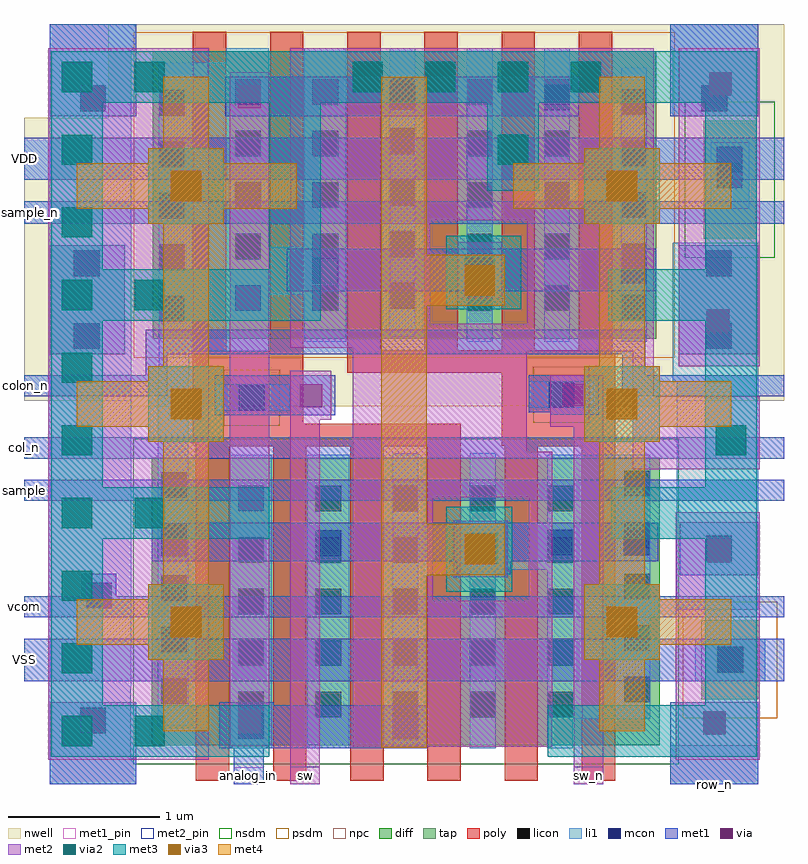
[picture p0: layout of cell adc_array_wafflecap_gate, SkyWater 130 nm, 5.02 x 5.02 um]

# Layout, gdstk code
import gdstk
lib = gdstk.Library(unit=1e-6, precision=1e-09)
def R(c, l, rs):  # rectangles x0, y0, x1, y1
    for r in rs: c.add(gdstk.rectangle(r[:2], r[2:], *l))
def A(c, l, x, y, w, h, nx, ny, dx, dy):  # array of equal rectangles
    R(c, l, [(x+i*dx, y+j*dy, x+i*dx+w, y+j*dy+h) for i in range(nx) for j in range(ny)])
nwell = (64, 20)
diff = (65, 20)
tap = (65, 44)
poly = (66, 20)
licon = (66, 44)
li1 = (67, 20)
mcon = (67, 44)
met1_pin = (68, 16)
met1 = (68, 20)
via = (68, 44)
met2_pin = (69, 16)
met2 = (69, 20)
via2 = (69, 44)
met3 = (70, 20)
via3 = (70, 44)
met4 = (71, 20)
nsdm = (93, 44)
psdm = (94, 20)
npc = (95, 20)

adc_array_wafflecap_gate = lib.new_cell('adc_array_wafflecap_gate')
R(adc_array_wafflecap_gate, nwell, [(0.705,2.495,4.295,2.53), (0,2.53,5.02,4.4), (0.555,4.4,5.02,5.02)])
R(adc_array_wafflecap_gate, diff, [(0.845,0.255,4.2,2.155), (0.85,2.94,4.175,4.84)])
R(adc_array_wafflecap_gate, tap, [(4.475,0.56,4.85,1.08), (4.49,3.6,4.835,4.38)])
A(adc_array_wafflecap_gate, poly, 1.135, 0.02, 0.22, 2.21, 6, 1, 0.51, 0)
A(adc_array_wafflecap_gate, poly, 2.135, 2.865, 0.22, 2.105, 4, 1, 0.51, 0)
R(adc_array_wafflecap_gate, poly, [(1.135,2.23,2.885,2.25), (3.175,2.23,3.905,2.235), (3.155,2.235,3.905,2.715), (1.115,2.25,2.885,2.38), (1.115,2.38,1.845,2.86), (2.135,2.715,3.905,2.845), (2.135,2.845,3.885,2.865), (1.115,2.86,1.335,4.97), (1.625,2.86,1.845,4.97)])
A(adc_array_wafflecap_gate, licon, 1.415, 0.44, 0.17, 0.17, 5, 5, 0.51, 0.34)
A(adc_array_wafflecap_gate, licon, 0.905, 0.53, 0.17, 0.17, 1, 5, 0, 0.34)
A(adc_array_wafflecap_gate, licon, 3.965, 0.54, 0.17, 0.17, 1, 5, 0, 0.34)
A(adc_array_wafflecap_gate, licon, 0.89, 3.055, 0.17, 0.17, 1, 5, 0, 0.34)
A(adc_array_wafflecap_gate, licon, 3.945, 3.06, 0.17, 0.17, 1, 5, 0, 0.34)
A(adc_array_wafflecap_gate, licon, 1.395, 3.125, 0.17, 0.17, 1, 5, 0, 0.34)
A(adc_array_wafflecap_gate, licon, 1.905, 3.125, 0.17, 0.17, 1, 5, 0, 0.34)
A(adc_array_wafflecap_gate, licon, 2.925, 3.125, 0.17, 0.17, 1, 5, 0, 0.34)
A(adc_array_wafflecap_gate, licon, 3.435, 3.125, 0.17, 0.17, 1, 5, 0, 0.34)
A(adc_array_wafflecap_gate, licon, 2.415, 3.14, 0.17, 0.17, 1, 5, 0, 0.34)
R(adc_array_wafflecap_gate, licon, [(4.58,0.735,4.75,0.905), (1.42,2.465,1.59,2.635), (3.465,2.485,3.635,2.655), (4.575,3.935,4.745,4.105)])
R(adc_array_wafflecap_gate, li1, [(0.17,0,0.74,0.17), (4.27,0,4.85,0.255), (0.17,0.17,0.705,0.645), (1.36,0.235,1.635,2.175), (1.87,0.235,2.15,2.175), (2.435,0.235,2.605,2.185), (2.945,0.235,3.115,1.415), (3.455,0.235,3.625,0.43), (0.885,0.38,1.085,2.68), (3.455,0.43,4.135,1.415), (0.17,0.645,0.71,4.85), (4.435,0.68,4.895,0.96), (4.31,1.15,4.85,2.655), (2.945,1.415,4.135,1.725), (2.945,1.725,3.115,2.185), (3.455,1.725,4.135,2.175), (1.26,2.465,1.755,2.64), (3.335,2.485,3.765,2.66), (4.285,2.655,4.85,3.575), (0.89,2.68,1.09,2.86), (0.89,2.86,1.615,3.235), (1.85,2.92,2.13,3.235), (2.925,2.92,3.095,4.86), (3.435,2.92,3.605,4.86), (3.945,2.92,4.115,4.73), (2.415,2.955,2.585,4.86), (0.89,3.235,2.13,3.545), (0.89,3.545,1.615,4.765), (1.85,3.545,2.13,4.86), (4.535,3.8,4.79,4.24), (4.285,4.41,4.85,4.85), (1.335,4.765,1.615,4.86), (0.17,4.85,0.74,5.02), (4.27,4.85,4.85,5.02)])
R(adc_array_wafflecap_gate, mcon, [(1.415,0.3,1.585,0.47), (2.435,0.3,2.605,0.47), (0.37,0.335,0.54,0.505), (4.58,0.735,4.75,0.905), (0.41,1.16,0.58,1.33), (2.945,1.47,3.115,1.64), (4.505,1.47,4.675,1.64), (0.905,1.505,1.075,1.675), (1.925,1.505,2.095,1.675), (3.455,1.51,3.625,1.68), (3.96,1.51,4.13,1.68), (1.42,2.465,1.59,2.635), (3.465,2.485,3.635,2.655), (0.33,2.875,0.5,3.045), (4.505,2.875,4.675,3.045), (1.905,3.305,2.075,3.475), (3.945,3.305,4.115,3.475), (2.925,3.31,3.095,3.48), (0.33,3.355,0.5,3.525), (4.505,3.355,4.675,3.525), (4.575,4.04,4.745,4.21), (0.37,4.445,0.54,4.615), (4.475,4.445,4.645,4.615), (3.435,4.45,3.605,4.62), (2.415,4.455,2.585,4.625)])
R(adc_array_wafflecap_gate, met1_pin, [(1.385,0,1.585,0.11)])
R(adc_array_wafflecap_gate, met1, [(0.17,0,0.74,0.54), (1.385,0,1.585,0.235), (4.27,0,4.85,0.54), (1.29,0.235,2.665,0.52), (1.29,0.52,1.65,0.54), (0,0.68,5.02,0.96), (0,1.1,5.02,1.24), (0.38,1.24,0.61,1.39), (4.33,1.38,4.85,1.73), (2.86,1.385,3.215,1.47), (0.845,1.47,4.19,1.725), (0,1.87,5.02,2.01), (0,2.15,5.02,2.29), (1.26,2.435,2.055,2.7), (3.475,2.44,3.795,2.455), (3.335,2.455,3.795,2.7), (0,2.56,0.945,2.7), (3.95,2.56,5.02,2.7), (0.805,2.7,0.945,2.84), (3.95,2.7,4.105,2.84), (0.17,2.84,0.665,3.56), (0.805,2.84,4.105,3), (4.325,2.84,4.85,3.56), (1.735,3.255,4.175,3.535), (0,3.7,5.02,3.85), (0,3.99,5.02,4.27), (0.17,4.41,0.74,5.02), (1.33,4.41,3.665,4.67), (4.27,4.41,4.85,5.02)])
R(adc_array_wafflecap_gate, via, [(4.485,0.33,4.635,0.48), (1.415,0.335,1.565,0.485), (4.515,1.465,4.665,1.615), (2.945,1.48,3.095,1.63), (1.82,2.49,1.97,2.64), (3.56,2.495,3.71,2.645), (4.51,2.985,4.66,3.135), (2.935,3.32,3.085,3.47), (1.415,4.465,1.565,4.615), (4.525,4.55,4.675,4.7)])
R(adc_array_wafflecap_gate, met2_pin, [(1.76,0,1.955,0.115), (3.63,0,3.825,0.115)])
R(adc_array_wafflecap_gate, met2, [(1.76,0,1.955,2.405), (3.63,0,3.825,2.36), (0.16,0.16,1.22,4.86), (4.305,0.16,4.86,1.795), (2.17,0.245,3.49,1.21), (1.36,0.25,1.62,4.7), (2.17,1.21,2.7,1.895), (3.335,1.21,3.49,1.895), (2.84,1.365,3.195,1.74), (2.17,1.895,3.49,2.195), (4.02,2.08,4.86,2.56), (2.17,2.195,3.32,2.86), (3.475,2.36,3.825,2.7), (1.76,2.405,2.03,2.73), (4.02,2.56,4.165,2.565), (4.02,2.565,4.16,2.86), (4.325,2.76,4.86,4.86), (2.17,2.86,4.16,2.88), (1.76,2.88,4.16,3.04), (1.76,3.04,2.685,3.725), (3.325,3.04,4.16,3.725), (2.865,3.21,3.155,3.58), (1.76,3.725,4.16,4.86)])
A(adc_array_wafflecap_gate, via2, 0.25, 0.25, 0.2, 0.2, 1, 10, 0, 0.48)
A(adc_array_wafflecap_gate, via2, 0.73, 0.25, 0.2, 0.2, 1, 4, 0, 1.44)
A(adc_array_wafflecap_gate, via2, 2.17, 4.57, 0.2, 0.2, 4, 1, 0.48, 0)
R(adc_array_wafflecap_gate, via2, [(2.93,1.455,3.13,1.655), (4.57,2.17,4.77,2.37), (2.91,3.295,3.11,3.495), (3.13,4.09,3.33,4.29)])
A(adc_array_wafflecap_gate, met3, 0.18, 0.52, 0.34, 1.1, 1, 3, 0, 1.44)
A(adc_array_wafflecap_gate, met3, 4.5, 0.52, 0.34, 1.1, 1, 3, 0, 1.44)
A(adc_array_wafflecap_gate, met3, 0.82, 0.82, 0.5, 0.5, 1, 3, 0, 1.44)
A(adc_array_wafflecap_gate, met3, 3.7, 0.82, 0.5, 0.5, 1, 3, 0, 1.44)
R(adc_array_wafflecap_gate, met3, [(0.18,0.18,1.62,0.52), (3.46,0.18,4.84,0.52), (2.79,1.27,3.225,1.83), (0.18,1.62,1.62,1.96), (3.88,1.62,4.84,1.96), (0.18,3.06,1.96,3.4), (3.86,3.06,4.84,3.4), (2.79,3.135,3.285,3.62), (1.62,3.4,1.96,4.5), (3.06,3.92,3.4,4.5), (0.18,4.5,4.84,4.84)])
A(adc_array_wafflecap_gate, via3, 0.97, 0.97, 0.2, 0.2, 1, 3, 0, 1.44)
A(adc_array_wafflecap_gate, via3, 3.85, 0.97, 0.2, 0.2, 1, 3, 0, 1.44)
R(adc_array_wafflecap_gate, via3, [(2.91,1.45,3.11,1.65), (2.91,3.225,3.11,3.425)])
R(adc_array_wafflecap_gate, met4, [(2.36,0.24,2.66,1.38), (0.92,0.35,1.22,0.82), (3.8,0.35,4.1,0.82), (0.82,0.82,1.32,0.92), (3.7,0.82,4.2,0.92), (0.35,0.92,1.32,1.22), (3.7,0.92,4.67,1.22), (0.82,1.22,1.32,1.32), (3.7,1.22,4.2,1.32), (0.92,1.32,1.22,2.26), (3.8,1.32,4.1,2.26), (2.36,1.38,3.175,1.72), (2.36,1.72,2.66,3.16), (0.82,2.26,1.32,2.36), (3.7,2.26,4.2,2.36), (0.35,2.36,1.32,2.66), (3.7,2.36,4.67,2.66), (0.82,2.66,1.32,2.76), (3.7,2.66,4.2,2.76), (0.92,2.76,1.22,3.7), (3.8,2.76,4.1,3.7), (2.36,3.16,3.175,3.495), (2.36,3.495,2.66,4.67), (0.82,3.7,1.32,3.8), (3.7,3.7,4.2,3.8), (0.35,3.8,1.8,4.1), (3.23,3.8,4.67,4.1), (0.82,4.1,1.32,4.2), (3.7,4.1,4.2,4.2), (0.92,4.2,1.22,4.67), (3.8,4.2,4.1,4.67)])
R(adc_array_wafflecap_gate, nsdm, [(0.72,0.13,4.325,2.28), (4.365,3.475,4.96,4.505)])
R(adc_array_wafflecap_gate, psdm, [(4.35,0.435,4.975,1.205), (0.725,2.815,4.3,4.965)])
R(adc_array_wafflecap_gate, npc, [(1.32,2.365,1.69,2.735), (3.365,2.385,3.735,2.755)])
adc_array_wafflecap_gate.add(gdstk.Label('sample_n', (0,3.775), layer=68, texttype=16))
adc_array_wafflecap_gate.add(gdstk.Label('colon_n', (0,2.63), layer=68, texttype=16))
adc_array_wafflecap_gate.add(gdstk.Label('col_n', (0,2.22), layer=68, texttype=16))
adc_array_wafflecap_gate.add(gdstk.Label('sample', (0,1.94), layer=68, texttype=16))
adc_array_wafflecap_gate.add(gdstk.Label('vcom', (0,1.17), layer=68, texttype=16))
adc_array_wafflecap_gate.add(gdstk.Label('VSS', (0,0.82), layer=68, texttype=16))
adc_array_wafflecap_gate.add(gdstk.Label('row_n', (4.56,0), layer=67, texttype=16))
adc_array_wafflecap_gate.add(gdstk.Label('VDD', (0,4.13), layer=68, texttype=16))
adc_array_wafflecap_gate.add(gdstk.Label('analog_in', (1.485,0.055), layer=68, texttype=16))
adc_array_wafflecap_gate.add(gdstk.Label('sw', (1.857,0.057), layer=69, texttype=16))
adc_array_wafflecap_gate.add(gdstk.Label('sw_n', (3.727,0.057), layer=69, texttype=16))

lib.write_gds('adc_array_wafflecap_gate.gds')
